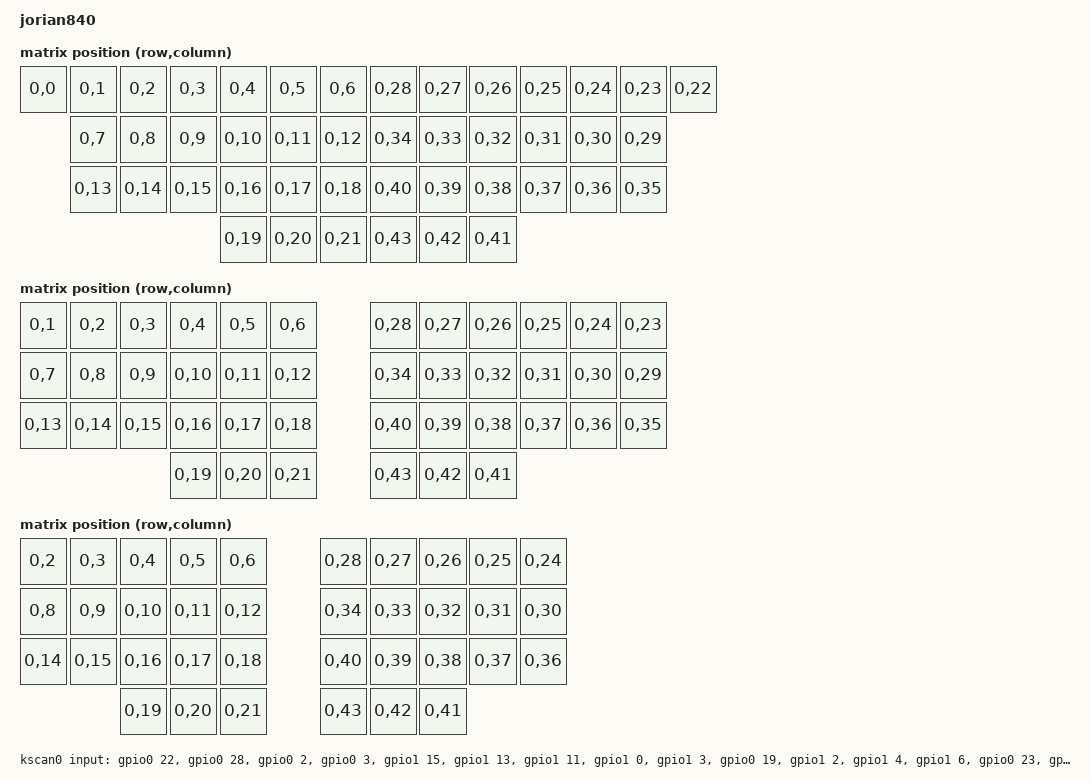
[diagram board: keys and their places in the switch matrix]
/*
 * Copyright (c) 2021 The ZMK Contributors
 *
 * SPDX-License-Identifier: MIT
 */

/dts-v1/;
#include <nordic/nrf52840_qiaa.dtsi>
#include <dt-bindings/zmk/matrix_transform.h>

/ {
	model = "jorian840";
	compatible = "jorian840";

	chosen {
		zephyr,code-partition = &code_partition;
		zephyr,sram = &sram0;
		zephyr,flash = &flash0;
		zmk,kscan = &kscan0;
		zmk,matrix_transform = &jian_transform;
        zephyr,console = &cdc_acm_uart;
		zmk,battery = &vbatt;
	};

	jian_transform: keymap_transform_0 {
		compatible = "zmk,matrix-transform";
		columns = <44>;
		rows = <1>;
					map = <
	RC(0,0) RC(0,1)  RC(0,2)  RC(0,3)  RC(0,4)  RC(0,5)  RC(0,6)   RC(0,28) RC(0,27) RC(0,26) RC(0,25) RC(0,24) RC(0,23) RC(0,22)
			RC(0,7)  RC(0,8)  RC(0,9)  RC(0,10) RC(0,11) RC(0,12)  RC(0,34) RC(0,33) RC(0,32) RC(0,31) RC(0,30) RC(0,29)
			RC(0,13) RC(0,14) RC(0,15) RC(0,16) RC(0,17) RC(0,18)  RC(0,40) RC(0,39) RC(0,38) RC(0,37) RC(0,36) RC(0,35)
									   RC(0,19) RC(0,20) RC(0,21)  RC(0,43) RC(0,42) RC(0,41)
		>;
	};


	corjik_transform: keymap_transform_1 {
		compatible = "zmk,matrix-transform";
		columns = <44>;
		rows = <1>;
					map = <
	RC(0,1)  RC(0,2)  RC(0,3)  RC(0,4)  RC(0,5)  RC(0,6)   RC(0,28) RC(0,27) RC(0,26) RC(0,25) RC(0,24) RC(0,23)
	RC(0,7)  RC(0,8)  RC(0,9)  RC(0,10) RC(0,11) RC(0,12)  RC(0,34) RC(0,33) RC(0,32) RC(0,31) RC(0,30) RC(0,29)
	RC(0,13) RC(0,14) RC(0,15) RC(0,16) RC(0,17) RC(0,18)  RC(0,40) RC(0,39) RC(0,38) RC(0,37) RC(0,36) RC(0,35)
							   RC(0,19) RC(0,20) RC(0,21)  RC(0,43) RC(0,42) RC(0,41)
		>;
	};


	fifi_transform: keymap_transform_2 {
		compatible = "zmk,matrix-transform";
		columns = <44>;
		rows = <1>;
					map = <
	RC(0,2)  RC(0,3)  RC(0,4)  RC(0,5)  RC(0,6)   RC(0,28) RC(0,27) RC(0,26) RC(0,25) RC(0,24)
	RC(0,8)  RC(0,9)  RC(0,10) RC(0,11) RC(0,12)  RC(0,34) RC(0,33) RC(0,32) RC(0,31) RC(0,30)
	RC(0,14) RC(0,15) RC(0,16) RC(0,17) RC(0,18)  RC(0,40) RC(0,39) RC(0,38) RC(0,37) RC(0,36)
					   RC(0,19) RC(0,20) RC(0,21)  RC(0,43) RC(0,42) RC(0,41)
		>;
	};


	ferris_transform: keymap_transform_3 {
		compatible = "zmk,matrix-transform";
		columns = <44>;
		rows = <1>;
					map = <
	RC(0,2)  RC(0,3)  RC(0,4)  RC(0,5)  RC(0,6)   RC(0,28) RC(0,27) RC(0,26) RC(0,25) RC(0,24)
	RC(0,8)  RC(0,9)  RC(0,10) RC(0,11) RC(0,12)  RC(0,34) RC(0,33) RC(0,32) RC(0,31) RC(0,30)
	RC(0,14) RC(0,15) RC(0,16) RC(0,17) RC(0,18)  RC(0,40) RC(0,39) RC(0,38) RC(0,37) RC(0,36)
					           RC(0,19) RC(0,20)  RC(0,42) RC(0,41)
		>;
	};

	kscan0: kscan {
		compatible = "zmk,kscan-gpio-direct";
		label = "KSCAN";
		input-gpios
		= <&gpio0 22 (GPIO_ACTIVE_LOW | GPIO_PULL_UP)>
		, <&gpio0 28 (GPIO_ACTIVE_LOW | GPIO_PULL_UP)>
		, <&gpio0  2 (GPIO_ACTIVE_LOW | GPIO_PULL_UP)>
		, <&gpio0  3 (GPIO_ACTIVE_LOW | GPIO_PULL_UP)>
		, <&gpio1 15 (GPIO_ACTIVE_LOW | GPIO_PULL_UP)>
		, <&gpio1 13 (GPIO_ACTIVE_LOW | GPIO_PULL_UP)>
		, <&gpio1 11 (GPIO_ACTIVE_LOW | GPIO_PULL_UP)>
		, <&gpio1  0 (GPIO_ACTIVE_LOW | GPIO_PULL_UP)>
		, <&gpio1  3 (GPIO_ACTIVE_LOW | GPIO_PULL_UP)>
		, <&gpio0 19 (GPIO_ACTIVE_LOW | GPIO_PULL_UP)>
		, <&gpio1  2 (GPIO_ACTIVE_LOW | GPIO_PULL_UP)>
		, <&gpio1  4 (GPIO_ACTIVE_LOW | GPIO_PULL_UP)>
		, <&gpio1  6 (GPIO_ACTIVE_LOW | GPIO_PULL_UP)>
		, <&gpio0 23 (GPIO_ACTIVE_LOW | GPIO_PULL_UP)>
		, <&gpio0 21 (GPIO_ACTIVE_LOW | GPIO_PULL_UP)>
		, <&gpio1  1 (GPIO_ACTIVE_LOW | GPIO_PULL_UP)>
		, <&gpio0 31 (GPIO_ACTIVE_LOW | GPIO_PULL_UP)>
		, <&gpio0 30 (GPIO_ACTIVE_LOW | GPIO_PULL_UP)>
		, <&gpio0 29 (GPIO_ACTIVE_LOW | GPIO_PULL_UP)>
		, <&gpio0 12 (GPIO_ACTIVE_LOW | GPIO_PULL_UP)>
		, <&gpio1  9 (GPIO_ACTIVE_LOW | GPIO_PULL_UP)>
		, <&gpio0  7 (GPIO_ACTIVE_LOW | GPIO_PULL_UP)>
		;
    };

	leds {
		compatible = "gpio-leds";
		blue_led: led_0 {
			gpios = <&gpio1 10 GPIO_ACTIVE_HIGH>;
			label = "Blue LED";
		};
	};


	vbatt: vbatt {
		compatible = "zmk,battery-voltage-divider";
		label = "BATTERY";
		io-channels = <&adc 2>;
		output-ohms = <2000000>;
		full-ohms = <(2000000 + 820000)>;
	};
};


&adc {
	status = "okay";
};

&gpiote {
	status = "okay";
};

&gpio0 {
	status = "okay";
};

&gpio1 {
	status = "okay";
};

&usbd {
    status = "okay";
    cdc_acm_uart: cdc_acm_uart {
        compatible = "zephyr,cdc-acm-uart";
        label = "CDC_ACM_0";
    };
};

&flash0 {
	/*
	 * For more information, see:
	 * http://docs.zephyrproject.org/latest/devices/dts/flash_partitions.html
	 */
	partitions {
		compatible = "fixed-partitions";
		#address-cells = <1>;
		#size-cells = <1>;

		sd_partition: partition@0 {
			label = "softdevice";
			reg = <0x00000000 0x00026000>;
		};
		code_partition: partition@26000 {
			label = "code_partition";
			reg = <0x00026000 0x000c6000>;
		};

		/*
		 * The flash starting at 0x000ec000 and ending at
		 * 0x000f3fff is reserved for use by the application.
		 */

		/*
		 * Storage partition will be used by FCB/LittleFS/NVS
		 * if enabled.
		 */
		storage_partition: partition@ec000 {
			label = "storage";
			reg = <0x000ec000 0x00008000>;
		};

		boot_partition: partition@f4000 {
			label = "adafruit_boot";
			reg = <0x000f4000 0x0000c000>;
		};
	};
};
